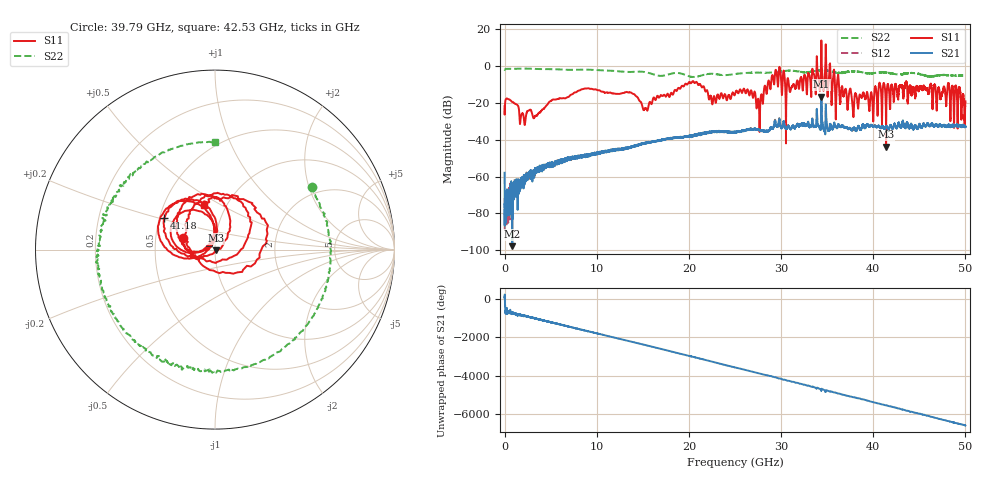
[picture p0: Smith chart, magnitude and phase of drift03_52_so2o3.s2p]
!Created with skrf (http://scikit-rf.org).
# Hz S RI R 50.0
!freq ReS11 ImS11 ReS21 ImS21 ReS12 ImS12 ReS22 ImS22
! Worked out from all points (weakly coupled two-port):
!   10001 points, 300 kHz to 50 GHz, reference 50 ohm
!   highest |S21| = -16.52 dB at 34.37 GHz (marker M1); lowest = -97.9 dB at 835.3 MHz (marker M2)
!   lowest |S11| = -43.8 dB at 41.4 GHz (marker M3), VSWR 1.01, Z = 50.6 - j0.34 ohm
!   |S11| at or under -10 dB: start of sweep to 19.56 GHz; 21.25 GHz to 28.55 GHz (7.297 GHz wide, 29.3 % of centre); 36.29 GHz to 40.62 GHz (4.336 GHz wide, 11.3 % of centre) (the widest 3 of 40)
!   |S22| runs from -5.9 to -1.3 dB; largest |S21 - S12| = 0.029
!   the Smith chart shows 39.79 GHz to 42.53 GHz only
!   S11 on the Smith chart (normalised r, x): 39.79 GHz: 0.69, +0.10; 41.18 GHz: 0.53, +0.21; 42.53 GHz: 0.79, +0.42
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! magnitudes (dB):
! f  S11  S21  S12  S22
! 300 kHz  -21.7  -57.9  -71.8  -2.0
! 255.3 MHz  -17.6  -66.9  -69.2  -1.4
! 835.3 MHz  -19.5  -97.9  -67.3  -1.5
! 3.3 GHz  -27.2  -56.4  -57.5  -1.5
! 8.335 GHz  -12.6  -49.8  -48.7  -1.9
! 13.76 GHz  -14.5  -43.6  -43.8  -3.1
! 15.29 GHz  -22.8  -41.9  -41.9  -3.3
! 16.67 GHz  -16.5  -40.5  -40.4  -5.2
! 20.26 GHz  -9.2  -37.5  -38.0  -5.8
! 22.71 GHz  -16.4  -35.6  -35.8  -4.2
! 25 GHz  -15.3  -35.8  -35.8  -4.3
! 27.52 GHz  -17.8  -34.6  -34.8  -3.5
! 29.28 GHz  -8.6  -31.2  -30.7  -3.3
! 30.73 GHz  -6.6  -32.5  -32.4  -2.5
! 33.34 GHz  -7.6  -31.4  -31.3  -2.9
! 34.37 GHz  14.0  -16.5  -17.5  -2.3
! 39.79 GHz  -14.4  -31.9  -32.0  -3.9
! 41.18 GHz  -9.5  -33.9  -33.7  -3.3
! 41.4 GHz  -43.8  -32.6  -32.7  -3.4
! 41.67 GHz  -11.5  -34.3  -34.0  -3.7
! 42.53 GHz  -11.8  -33.4  -33.4  -4.4
! 50 GHz  -19.1  -33.0  -32.4  -5.0
